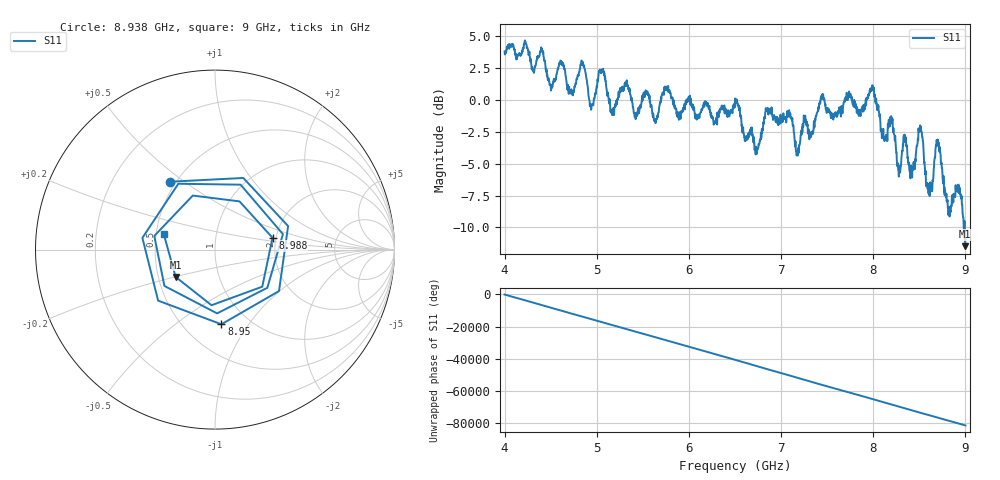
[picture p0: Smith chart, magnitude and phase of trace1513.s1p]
! Created with skrf 1.8.0 (http://scikit-rf.org).
# Hz S RI R 50.0
!freq ReS11 ImS11
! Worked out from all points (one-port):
!   1601 points, 4 GHz to 9 GHz, reference 50 ohm
!   lowest |S11| = -11.5 dB at 8.997 GHz (marker M1), VSWR 1.73, Z = 30.7 - j10.1 ohm
!   |S11| at or under -10 dB: 8.982131 GHz to 8.986344 GHz (4.213 MHz wide, 0.0469 % of centre); 8.99328 GHz to end of sweep
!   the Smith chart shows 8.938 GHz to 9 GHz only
!   S11 on the Smith chart (normalised r, x): 8.938 GHz: 0.47, +0.44; 8.95 GHz: 0.75, -0.75; 8.988 GHz: 1.92, +0.28; 9 GHz: 0.55, +0.11
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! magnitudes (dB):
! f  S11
! 4 GHz  3.8
! 4.625 GHz  3.0
! 4.719 GHz  0.6
! 4.847 GHz  2.8
! 4.941 GHz  -0.7
! 5.047 GHz  2.2
! 5.162 GHz  -0.9
! 5.25 GHz  0.6
! 5.875 GHz  -1.3
! 6.5 GHz  0.1
! 6.731 GHz  -3.7
! 6.856 GHz  -0.6
! 7.125 GHz  -1.9
! 7.178 GHz  -4.3
! 7.441 GHz  0.1
! 7.75 GHz  0.4
! 7.994 GHz  1.0
! 8.278 GHz  -6.0
! 8.375 GHz  -4.5
! 8.516 GHz  -2.1
! 8.597 GHz  -6.7
! 8.7 GHz  -3.1
! 8.816 GHz  -9.0
! 8.938 GHz  -6.9
! 8.95 GHz  -7.6
! 8.988 GHz  -9.7
! 8.997 GHz  -11.5
! 9 GHz  -10.5
